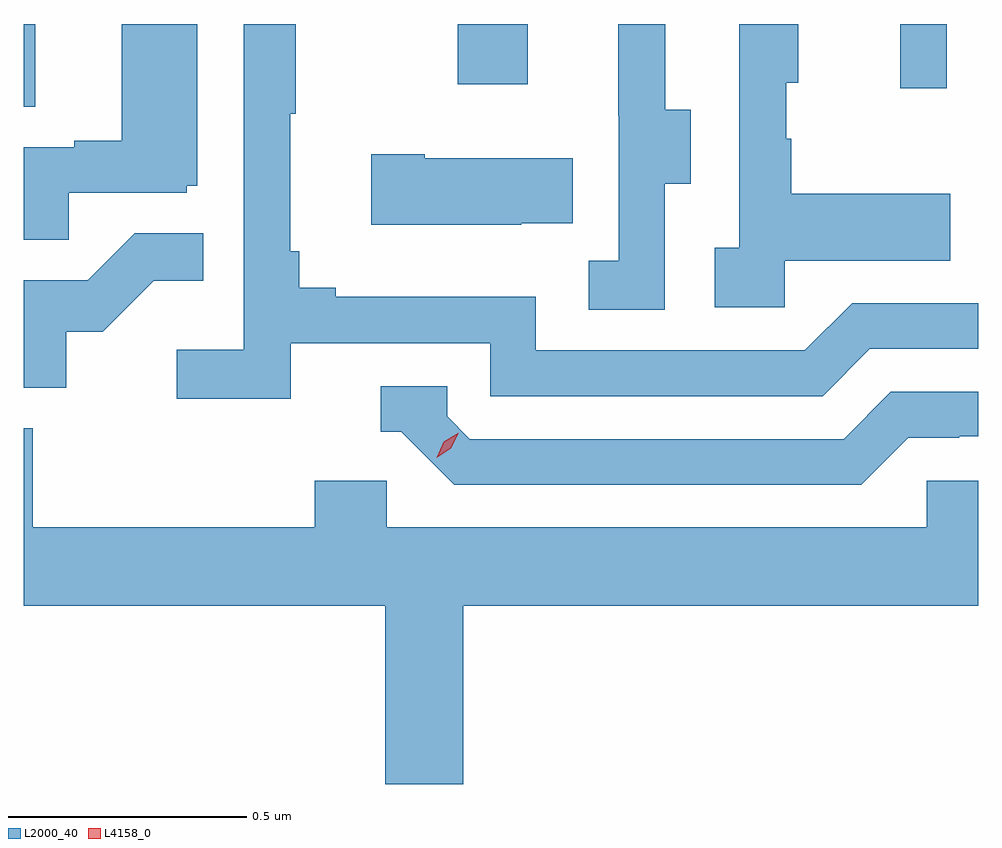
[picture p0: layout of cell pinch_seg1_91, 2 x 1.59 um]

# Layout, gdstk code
import gdstk
lib = gdstk.Library(unit=1e-6, precision=1e-09)
def R(c, l, rs):  # rectangles x0, y0, x1, y1
    for r in rs: c.add(gdstk.rectangle(r[:2], r[2:], *l))
def P(c, l, *ps):  # polygons
    for p in ps: c.add(gdstk.Polygon(p, *l))
L2000_40 = (2000, 40)
L4158_0 = (4158, 0)

pinch_seg1_91 = lib.new_cell('pinch_seg1_91')
R(pinch_seg1_91, L2000_40, [(1015.399,571.426,1015.423,571.599), (1017.236,571.464,1017.333,571.599), (1016.308,571.473,1016.455,571.599)])
P(pinch_seg1_91, L2000_40, [(1015.493,571.245),(1015.74,571.245),(1015.74,571.26),(1015.762,571.26),(1015.762,571.599),(1015.604,571.599),(1015.604,571.354),(1015.505,571.354),(1015.505,571.341),(1015.399,571.341),(1015.399,571.147),(1015.493,571.147)],
  [(1016.994,571.103),(1017.341,571.103),(1017.341,571.243),(1017.007,571.243),(1017.007,571.358),(1016.997,571.358),(1016.997,571.476),(1017.022,571.476),(1017.022,571.599),(1016.898,571.599),(1016.898,571.13),(1016.847,571.13),(1016.847,571.005),(1016.994,571.005)],
  [(1016.742,571.264),(1016.797,571.264),(1016.797,571.419),(1016.743,571.419),(1016.743,571.599),(1016.645,571.599),(1016.645,571.407),(1016.646,571.407),(1016.646,571.103),(1016.583,571.103),(1016.583,571),(1016.742,571)],
  [(1015.958,570.93),(1016.376,570.93),(1016.376,570.819),(1017.073,570.819),(1017.172,570.918),(1017.399,570.918),(1017.399,571.014),(1017.135,571.014),(1017.036,570.915),(1016.472,570.915),(1016.472,571.027),(1016.053,571.027),(1016.053,571.046),(1015.976,571.046),(1015.976,571.123),(1015.957,571.123),(1015.957,571.411),(1015.969,571.411),(1015.969,571.599),(1015.86,571.599),(1015.86,570.916),(1015.719,570.916),(1015.719,570.814),(1015.958,570.814)],
  [(1016.441,571.181),(1016.549,571.181),(1016.549,571.318),(1016.239,571.318),(1016.239,571.326),(1016.127,571.326),(1016.127,571.178),(1016.441,571.178)],
  [(1015.488,570.954),(1015.564,570.954),(1015.671,571.061),(1015.775,571.061),(1015.775,571.16),(1015.631,571.16),(1015.533,571.062),(1015.399,571.062),(1015.399,570.837),(1015.488,570.837)],
  [(1017.253,570.732),(1017.36,570.732),(1017.36,570.735),(1017.399,570.735),(1017.399,570.828),(1017.216,570.828),(1017.117,570.729),(1016.334,570.729),(1016.286,570.777),(1016.286,570.84),(1016.147,570.84),(1016.147,570.744),(1016.19,570.744),(1016.301,570.633),(1017.154,570.633)],
  [(1016.32,570.38),(1017.399,570.38),(1017.399,570.642),(1017.291,570.642),(1017.291,570.544),(1016.16,570.544),(1016.16,570.642),(1016.009,570.642),(1016.009,570.544),(1015.418,570.544),(1015.418,570.752),(1015.399,570.752),(1015.399,570.38),(1016.156,570.38),(1016.156,570.006),(1016.32,570.006)])
P(pinch_seg1_91, L4158_0, [(1016.264,570.69),(1016.264,570.69),(1016.279,570.723),(1016.31,570.742),(1016.31,570.742),(1016.31,570.742),(1016.294,570.71),(1016.264,570.69)])

lib.write_gds('pinch_seg1_91.gds')
